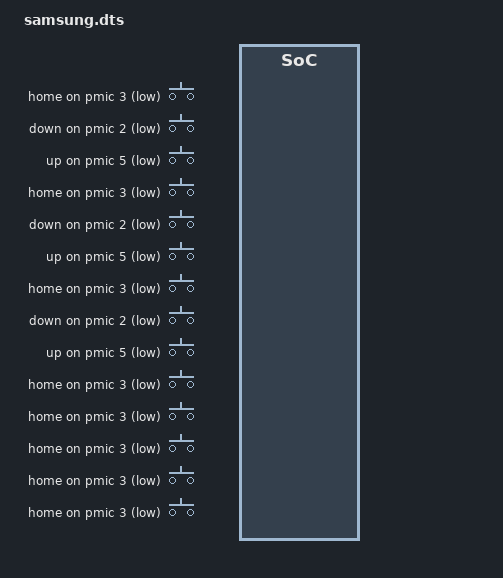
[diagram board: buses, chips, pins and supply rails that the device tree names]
// SPDX-License-Identifier: GPL-2.0-only

#include <skeleton32.dtsi>
#include <lk2nd.dtsi>

/ {
	qcom,msm-id = <0x7E01FF01 7 0>,
		      <0xC208FF01 10 0x10000>,
		      <0xC208FF01 14 0x10000>;
};

&lk2nd {
	/* rev 07 */

	hlte {
		model = "Samsung Galaxy Note 3 (SM-N9005)";
		compatible = "samsung,hlte";
		qcom,msm-id = <0x7E01FF01 7 0>;
		lk2nd,match-bootloader = "N9005*";

		lk2nd,dtb-files = "msm8974-samsung-hlte";

		gpio-keys {
			compatible = "gpio-keys";
			home {
				lk2nd,code = <KEY_HOME>;
				gpios = <&pmic 3 (GPIO_ACTIVE_LOW | GPIO_PULL_UP)>;
			};
			down {
				lk2nd,code = <KEY_VOLUMEDOWN>;
				gpios = <&pmic 2 (GPIO_ACTIVE_LOW | GPIO_PULL_UP)>;
			};

			up {
				lk2nd,code = <KEY_VOLUMEUP>;
				gpios = <&pmic 5 (GPIO_ACTIVE_LOW | GPIO_PULL_UP)>;
			};
		};
	};

	hltetmo {
		model = "Samsung Galaxy Note 3 (SM-N900T)";
		compatible = "samsung,hlte";
		qcom,msm-id = <0x7E01FF01 7 0>;
		lk2nd,match-bootloader = "N900T*";

		lk2nd,dtb-files = "msm8974-samsung-hlte";

		gpio-keys {
			compatible = "gpio-keys";
			home {
				lk2nd,code = <KEY_HOME>;
				gpios = <&pmic 3 (GPIO_ACTIVE_LOW | GPIO_PULL_UP)>;
			};
			down {
				lk2nd,code = <KEY_VOLUMEDOWN>;
				gpios = <&pmic 2 (GPIO_ACTIVE_LOW | GPIO_PULL_UP)>;
			};

			up {
				lk2nd,code = <KEY_VOLUMEUP>;
				gpios = <&pmic 5 (GPIO_ACTIVE_LOW | GPIO_PULL_UP)>;
			};
		};
	};

	lt03lte {
		model = "Samsung Galaxy Note 10.1 2014 (LTE)";
		compatible = "samsung,lt03lte";
		qcom,msm-id = <0x7E01FF01 7 0>;
		lk2nd,match-bootloader = "P605*";

		lk2nd,dtb-files = "msm8974-samsung-lt03lte";

		gpio-keys {
			compatible = "gpio-keys";
			home {
				lk2nd,code = <KEY_HOME>;
				gpios = <&pmic 3 (GPIO_ACTIVE_LOW | GPIO_PULL_UP)>;
			};

			down {
				lk2nd,code = <KEY_VOLUMEDOWN>;
				gpios = <&pmic 2 (GPIO_ACTIVE_LOW | GPIO_PULL_UP)>;
			};

			up {
				lk2nd,code = <KEY_VOLUMEUP>;
				gpios = <&pmic 5 (GPIO_ACTIVE_LOW | GPIO_PULL_UP)>;
			};
		};
	};

	/* rev 10 */

	kltechn-unicom {
		model = "Samsung Galaxy S5 China Unicom (Duos) (SM-G9006V/W)";
		compatible = "samsung,kltechn-unicom", "samsung,kltechn", "samsung,klte";
		lk2nd,match-bootloader = "G9006*";

		lk2nd,dtb-files = "msm8974pro-samsung-klte";

		gpio-keys {
			compatible = "gpio-keys";
			home {
				lk2nd,code = <KEY_HOME>;
				gpios = <&pmic 3 (GPIO_ACTIVE_LOW | GPIO_PULL_UP)>;
			};
		};
	};

	kltechn-mobile {
		model = "Samsung Galaxy S5 China Mobile (Duos) (SM-G9008V/W)";
		compatible = "samsung,kltechn-mobile", "samsung,kltechn", "samsung,klte";
		lk2nd,match-bootloader = "G9008*";

		lk2nd,dtb-files = "msm8974pro-samsung-klte";

		gpio-keys {
			compatible = "gpio-keys";
			home {
				lk2nd,code = <KEY_HOME>;
				gpios = <&pmic 3 (GPIO_ACTIVE_LOW | GPIO_PULL_UP)>;
			};
		};
	};

	kltechn-telecom {
		model = "Samsung Galaxy S5 China Telecom LTE (SM-G9009W)";
		compatible = "samsung,kltechn-telecom", "samsung,kltechn", "samsung,klte";
		lk2nd,match-bootloader = "G9009*";

		lk2nd,dtb-files = "msm8974pro-samsung-klte";

		gpio-keys {
			compatible = "gpio-keys";
			home {
				lk2nd,code = <KEY_HOME>;
				gpios = <&pmic 3 (GPIO_ACTIVE_LOW | GPIO_PULL_UP)>;
			};
		};
	};

	/* rev 14 */

	klte {
		model = "Samsung Galaxy S5 (SM-G900F)";
		compatible = "samsung,klte";
		lk2nd,match-bootloader = "G900F*";

		lk2nd,dtb-files = "msm8974pro-samsung-klte";

		gpio-keys {
			compatible = "gpio-keys";
			home {
				lk2nd,code = <KEY_HOME>;
				gpios = <&pmic 3 (GPIO_ACTIVE_LOW | GPIO_PULL_UP)>;
			};
		};
	};

	kltetmo {
		model = "Samsung Galaxy S5 (SM-G900T)";
		compatible = "samsung,klte";
		lk2nd,match-bootloader = "G900T*";

		lk2nd,dtb-files = "msm8974pro-samsung-klte";

		gpio-keys {
			compatible = "gpio-keys";
			home {
				lk2nd,code = <KEY_HOME>;
				gpios = <&pmic 3 (GPIO_ACTIVE_LOW | GPIO_PULL_UP)>;
			};
		};
	};
};
